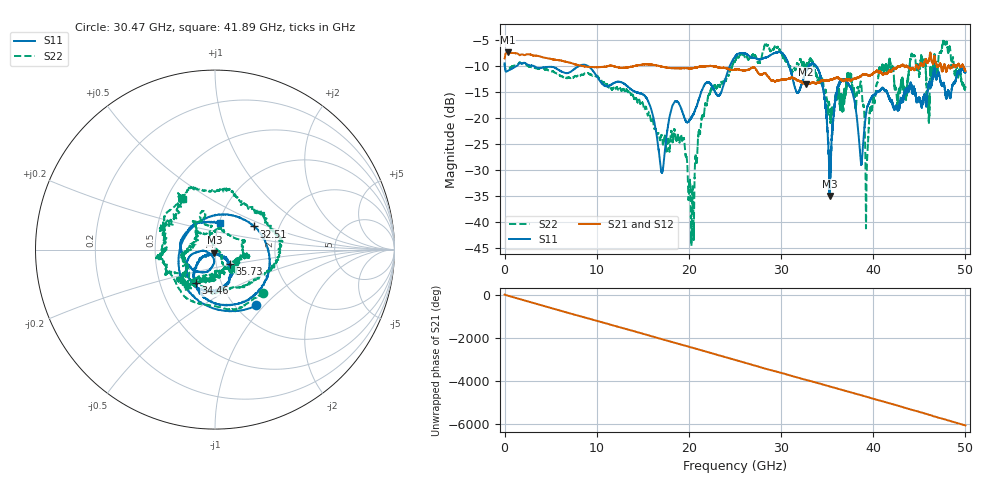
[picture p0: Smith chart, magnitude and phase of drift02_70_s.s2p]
!Created with skrf (http://scikit-rf.org).
# Hz S RI R 50.0
!freq ReS11 ImS11 ReS21 ImS21 ReS12 ImS12 ReS22 ImS22
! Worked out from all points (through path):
!   10001 points, 300 kHz to 50 GHz, reference 50 ohm
!   highest |S21| = -7.32 dB at 325.3 MHz (marker M1); lowest = -13.4 dB at 32.73 GHz (marker M2)
!   group delay of S21, straight-line fit = 335 ps
!   lowest |S11| = -35.0 dB at 35.26 GHz (marker M3), VSWR 1.04, Z = 49.7 - j1.75 ohm
!   |S11| at or under -10 dB: 3.231 GHz to 8.007 GHz (4.775 GHz wide, 85 % of centre); 9.105 GHz to 24.41 GHz (15.31 GHz wide, 91.3 % of centre); 33.83 GHz to end of sweep (the widest 3 of 9)
!   |S22| runs from -44.6 to -5.0 dB; largest |S21 - S12| = 0.015
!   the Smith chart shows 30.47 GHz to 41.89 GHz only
!   S11 on the Smith chart (normalised r, x): 30.47 GHz: 1.24, -0.90; 32.51 GHz: 1.49, +0.41; 34.46 GHz: 0.75, -0.30; 35.73 GHz: 1.16, -0.18; 41.89 GHz: 1.01, +0.30
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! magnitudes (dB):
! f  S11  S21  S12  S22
! 300 kHz  -9.4  -8.4  -8.4  -9.4
! 325.3 MHz  -10.9  -7.3  -7.3  -10.6
! 8.335 GHz  -9.7  -9.9  -9.9  -11.6
! 16.67 GHz  -25.5  -9.9  -9.9  -22.8
! 19.31 GHz  -18.8  -10.4  -10.3  -24.5
! 20.37 GHz  -19.5  -10.3  -10.3  -34.2
! 21.94 GHz  -13.1  -9.9  -10.0  -17.2
! 25 GHz  -8.2  -10.6  -10.6  -9.0
! 30.47 GHz  -8.3  -12.5  -12.4  -8.8
! 32.51 GHz  -11.9  -13.2  -13.2  -9.5
! 32.73 GHz  -10.9  -13.4  -13.5  -9.8
! 33.34 GHz  -9.6  -13.2  -13.2  -9.0
! 34.46 GHz  -13.3  -12.8  -12.7  -12.3
! 35.26 GHz  -35.0  -12.6  -12.6  -18.2
! 35.73 GHz  -18.9  -12.4  -12.4  -18.5
! 37.17 GHz  -13.1  -12.6  -12.5  -12.6
! 38.54 GHz  -25.9  -12.0  -12.0  -14.1
! 39.31 GHz  -18.2  -11.6  -11.6  -29.3
! 41.67 GHz  -15.9  -10.9  -11.1  -9.7
! 41.89 GHz  -16.5  -11.0  -10.9  -9.6
! 47.77 GHz  -14.5  -9.8  -9.7  -5.4
! 50 GHz  -11.1  -10.8  -10.8  -13.9
